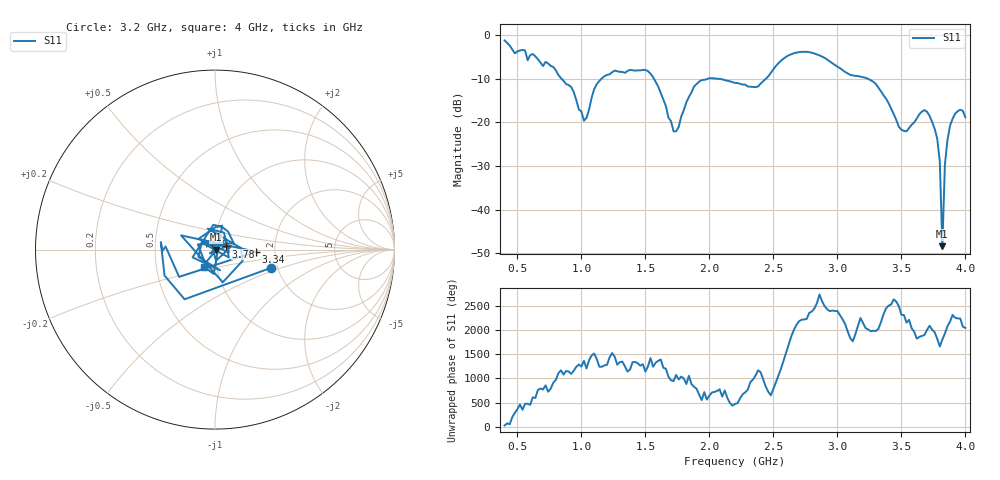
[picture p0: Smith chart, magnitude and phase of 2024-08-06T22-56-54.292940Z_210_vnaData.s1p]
!Created with skrf (http://scikit-rf.org).
# Hz S RI R 50.0
!freq ReS11 ImS11
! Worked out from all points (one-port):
!   181 points, 400 MHz to 4 GHz, reference 50 ohm
!   lowest |S11| = -48.4 dB at 3.82 GHz (marker M1), VSWR 1.01, Z = 50.4 + j0.00672 ohm
!   |S11| at or under -10 dB: 1.567 GHz to 1.987 GHz (419.2 MHz wide, 23.6 % of centre); 2.074 GHz to 2.441 GHz (366.3 MHz wide, 16.2 % of centre); 3.24 GHz to end of sweep (the widest 3 of 4)
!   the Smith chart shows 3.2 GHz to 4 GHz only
!   S11 on the Smith chart (normalised r, x): 3.2 GHz: 1.85, -0.42; 3.34 GHz: 1.59, -0.04; 3.78 GHz: 1.13, +0.04; 4 GHz: 0.87, -0.17
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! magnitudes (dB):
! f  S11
! 400 MHz  -1.2
! 860 MHz  -10.4
! 940 MHz  -13.0
! 1.02 GHz  -19.6
! 1.12 GHz  -11.2
! 1.3 GHz  -8.4
! 1.52 GHz  -8.2
! 1.6 GHz  -11.8
! 1.72 GHz  -22.1
! 1.76 GHz  -21.1
! 1.82 GHz  -15.4
! 1.92 GHz  -10.6
! 2.2 GHz  -10.9
! 2.38 GHz  -11.8
! 2.66 GHz  -4.1
! 3.1 GHz  -9.1
! 3.2 GHz  -9.6
! 3.34 GHz  -12.8
! 3.48 GHz  -21.0
! 3.56 GHz  -21.3
! 3.68 GHz  -17.2
! 3.78 GHz  -23.7
! 3.8 GHz  -29.0
! 3.82 GHz  -48.4
! 3.84 GHz  -29.7
! 3.86 GHz  -24.0
! 3.92 GHz  -18.0
! 4 GHz  -18.8
